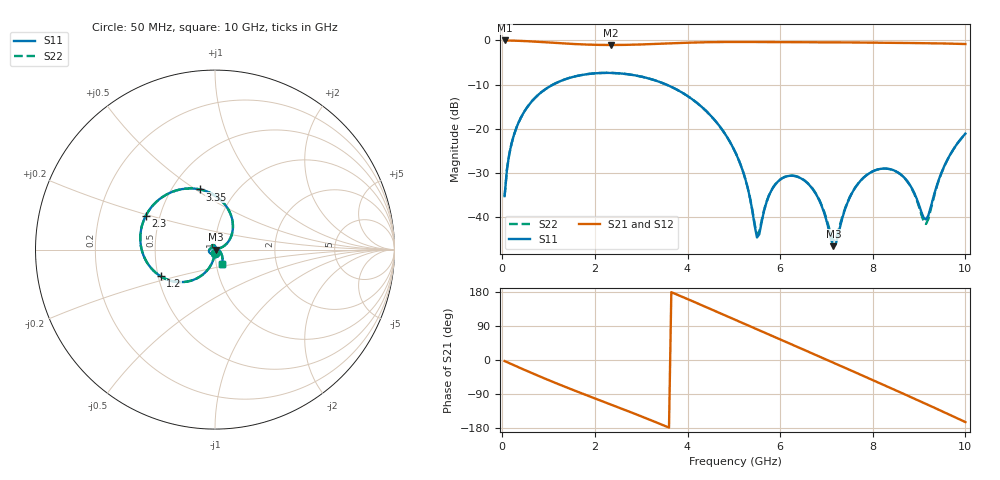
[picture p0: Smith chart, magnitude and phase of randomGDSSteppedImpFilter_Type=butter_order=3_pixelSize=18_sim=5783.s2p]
! freq	dB(S11)	phase(S11)	dB(S12)	phase(S12)
!  dB(S21)	phase(S21)	dB(S22)	phase(S22)
!S-par simulation data
#  GHz  S  DB  R 50
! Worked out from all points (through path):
!   200 points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, 50 MHz to 10 GHz, reference 50 ohm
!   highest |S21| = -0.01 dB at 50 MHz (marker M1); lowest = -1.0 dB at 2.35 GHz (marker M2)
!   group delay of S21, straight-line fit = 145 ps
!   lowest |S11| = -46.6 dB at 7.15 GHz (marker M3), VSWR 1.01, Z = 50.5 - j0.00993 ohm
!   |S11| at or under -10 dB: start of sweep to 1.094 GHz; 3.542 GHz to end of sweep
!   |S22| runs from -45.3 to -7.3 dB; largest |S21 - S12| = 0
!   S11 on the Smith chart (normalised r, x): 50 MHz: 1.00, -0.03; 1.2 GHz: 0.52, -0.17; 2.3 GHz: 0.42, +0.19; 3.35 GHz: 0.68, +0.52; 10 GHz: 1.07, -0.17
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0.05  -35.25 -92.5  -0.01 -2.8  -0.01 -2.8  -35.25 -92.5
0.15  -25.79 -98.4  -0.03 -8.3  -0.03 -8.3  -25.79 -98.4
0.35  -18.62 -109.5  -0.09 -19.1  -0.09 -19.1  -18.62 -109.5
1.2  -9.46 -153.7  -0.60 -63.2  -0.60 -63.2  -9.46 -153.7
1.75  -7.77 179.8  -0.91 -89.6  -0.91 -89.6  -7.77 179.8
2.3  -7.35 154.2  -1.03 -115.4  -1.03 -115.4  -7.35 154.2
2.35  -7.36 151.8  -1.03 -117.7  -1.03 -117.7  -7.36 151.8
3.35  -9.22 104.1  -0.78 -165.8  -0.78 -165.8  -9.22 104.2
3.4  -9.41 101.7  -0.76 -168.3  -0.76 -168.3  -9.41 101.7
4.2  -14.11 61.3  -0.46 150.3  -0.46 150.3  -14.11 61.3
5.05  -25.73 20.9  -0.35 105.0  -0.35 105.0  -25.72 21.3
5.3  -33.43 16.8  -0.35 91.6  -0.35 91.6  -33.38 18.0
5.5  -44.64 69.1  -0.36 80.9  -0.36 80.9  -43.94 70.1
5.95  -31.98 133.7  -0.38 57.0  -0.38 57.0  -31.93 132.5
6.7  -33.63 91.8  -0.41 17.0  -0.41 17.0  -33.54 90.0
7.15  -46.58 -1.2  -0.43 -7.2  -0.43 -7.2  -45.27 -1.9
7.65  -32.90 -117.0  -0.47 -34.1  -0.47 -34.1  -32.85 -114.9
8.35  -29.10 -165.0  -0.54 -72.0  -0.54 -72.0  -29.11 -163.5
8.75  -31.92 163.7  -0.58 -93.9  -0.58 -93.9  -32.00 165.9
9.15  -40.56 66.5  -0.63 -115.9  -0.63 -115.9  -41.55 66.6
9.55  -28.33 -28.8  -0.70 -138.3  -0.70 -138.3  -28.40 -30.2
10  -21.09 -63.7  -0.81 -163.8  -0.81 -163.8  -21.11 -64.5
